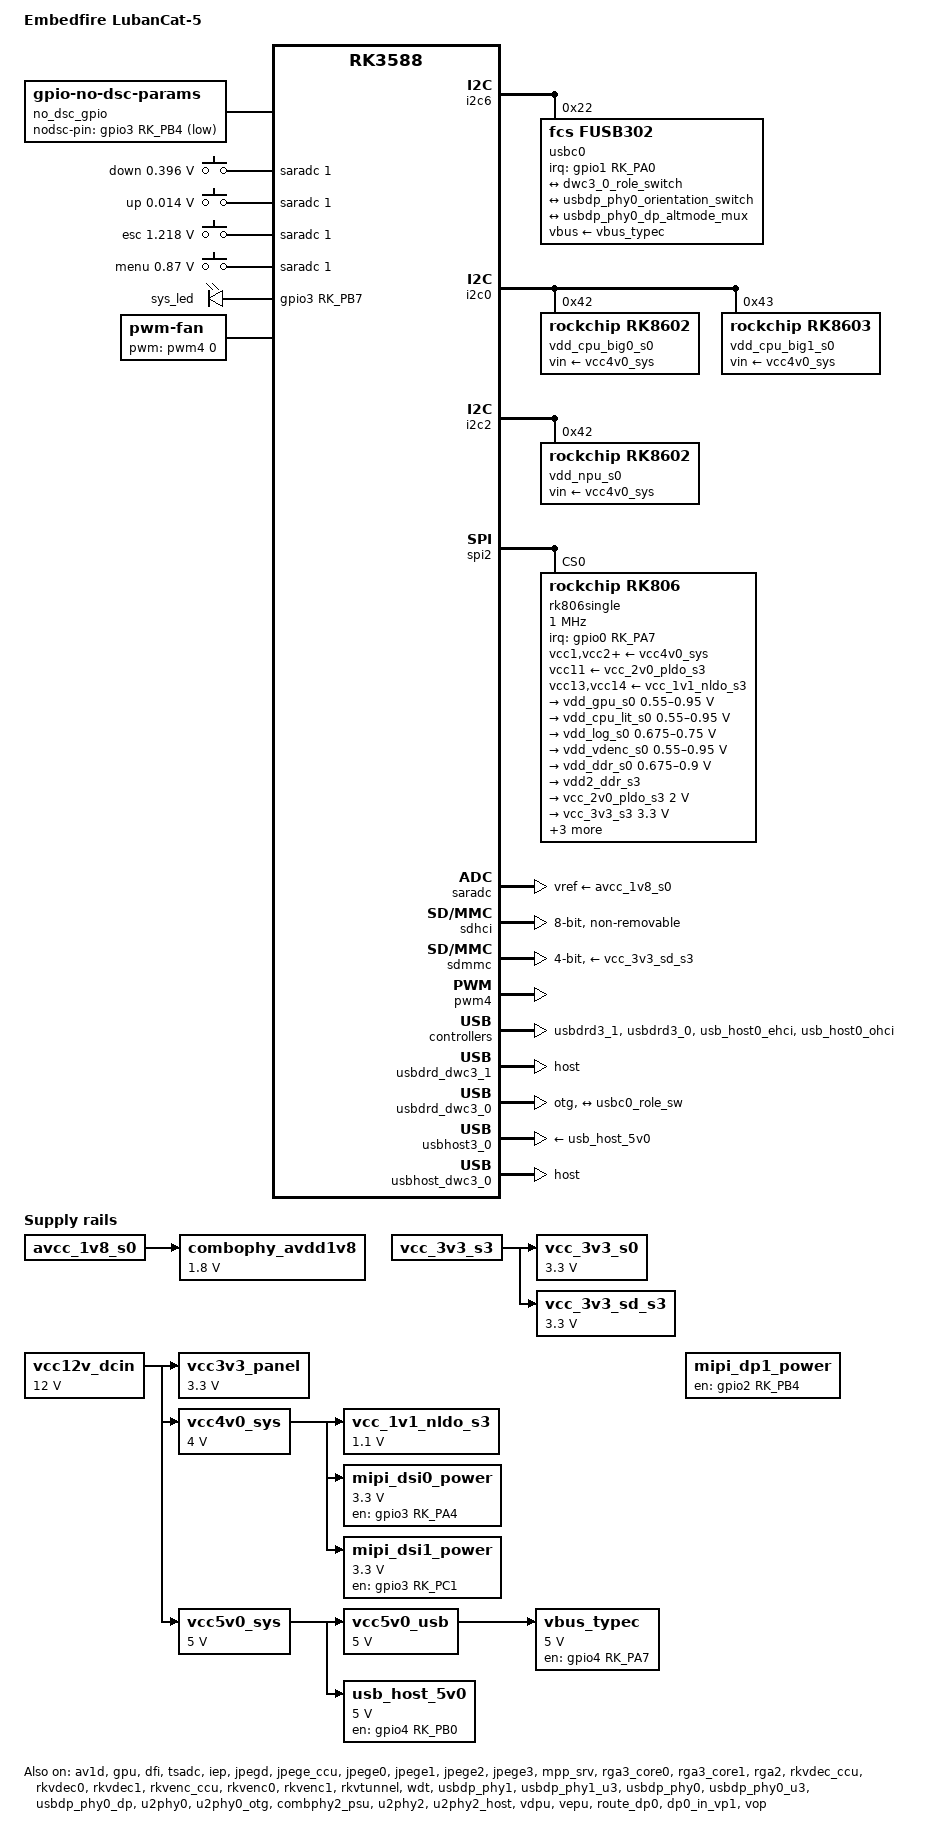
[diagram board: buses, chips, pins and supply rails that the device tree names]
// SPDX-License-Identifier: (GPL-2.0+ OR MIT)
/*
 * Copyright (c) 2021 Rockchip Electronics Co., Ltd.
 * Copyright (c) 2023 EmbedFire <embedfire@embedfire.com>
 */

/dts-v1/;

#include <dt-bindings/usb/pd.h>
#include <dt-bindings/gpio/gpio.h>
#include <dt-bindings/pwm/pwm.h>
#include <dt-bindings/pinctrl/rockchip.h>
//#include <dt-bindings/input/rk-input.h>
#include <dt-bindings/input/linux-event-codes.h>
#include <dt-bindings/display/drm_mipi_dsi.h>
#include <dt-bindings/display/rockchip_vop.h>
#include <dt-bindings/sensor-dev.h>
#include <dt-bindings/phy/jlsemi-dt-phy.h>
#include "rk3588.dtsi"
#include "rk3588-linux.dtsi"

//vp0
// #include "rk3588-lubancat-5-hdmi1-vp0.dtsi"
// #include "rk3588-lubancat-5-hdmi0.dtsi"

//vp2 二选一
// #include "rk3588-lubancat-5-dp1-edp_port.dtsi"
// #include "rk3588-lubancat-5-hdmi1.dtsi"
// #include "rk3588-lubancat-5-dsi0-ebf410125_1080p.dtsi"

//vp3
// #include "rk3588-lubancat-5-dsi1-ebf410125_1080p.dtsi"

/*
 * mipi_dcphy1 needs to be enabled
 * when dsi1 is enabled
 */
&dsi1 {
	pinctrl-names = "default";
	pinctrl-0 = <&mipi_te1>;
	status = "disabled";
};
&dsi0 {
	pinctrl-names = "default";
	pinctrl-0 = <&mipi_te0>;
	status = "disabled";
};

/ {
	model = "Embedfire LubanCat-5";
	compatible = "embedfire,rk3588-lubancat-5", "rockchip,rk3588";

	/* If hdmirx node is disabled, delete the reserved-memory node here. */
	reserved-memory {
		#address-cells = <2>;
		#size-cells = <2>;
		ranges;
		/* Reserve 256MB memory for hdmirx-controller@fdee0000 */
		/*
		cma {
			compatible = "shared-dma-pool";
			reusable;
			reg = <0x0 (256 * 0x100000) 0x0 (256 * 0x100000)>;
			linux,cma-default;
		};
		*/

		npu_reserved: npu@80000000 {
            reg = <0x0 0x80000000 0x0 0x08000000>;
            no-map;
        };
	};

	no_dsc_gpio: no-dsc-gpio {
        compatible = "gpio-no-dsc-params";
        nodsc-pin = <&gpio3 RK_PB4 GPIO_ACTIVE_LOW>;
    };

	adc_keys: adc-keys {
		status = "okay";
		compatible = "adc-keys";
		io-channels = <&saradc 1>;              // 使用 SARADC 通道 1
		io-channel-names = "buttons";
		keyup-threshold-microvolt = <1800000>;  // 按键释放的电压阈值（1.8V）
		poll-interval = <100>;                  // 轮询间隔（100ms）

		down {
		label = "down";
		linux,code = <KEY_DOWN>;
		press-threshold-microvolt = <395600>;
		};
		up {
		label = "up";
		linux,code = <KEY_UP>;             		// 按键对应的 Linux 键值
		press-threshold-microvolt = <13626>; 	// 按下触发的电压阈值
		};
		esc {
		label = "esc";
		linux,code = <KEY_ESC>;
		press-threshold-microvolt = <1217582>;
		};
		menu {
		label = "menu";
		linux,code = <KEY_MENU>;
		press-threshold-microvolt = <870329>;
		};
	};

	leds: leds {
		status = "okay";
		compatible = "gpio-leds";

		sys_led: sys-led {
			label = "sys_led";
			linux,default-trigger = "heartbeat";
			default-state = "on";
			gpios = <&gpio3 RK_PB7 GPIO_ACTIVE_HIGH>;
			pinctrl-names = "default";
			pinctrl-0 = <&sys_led_pin>;
		};
	};

	vcc12v_dcin: vcc12v-dcin {
		compatible = "regulator-fixed";
		regulator-always-on;
		regulator-boot-on;
		regulator-min-microvolt = <12000000>;
		regulator-max-microvolt = <12000000>;
		regulator-name = "vcc12v_dcin";
	};

	vcc3v3_panel: vcc3v3-panel{
		compatible = "regulator-fixed";
		regulator-name = "vcc3v3_panel";
		regulator-always-on;
		regulator-boot-on;
		regulator-min-microvolt = <3300000>;
		regulator-max-microvolt = <3300000>;
		vin-supply = <&vcc12v_dcin>;
	};

	vcc4v0_sys: vcc4v0-sys {
		compatible = "regulator-fixed";
		regulator-name = "vcc4v0_sys";
		regulator-always-on;
		regulator-boot-on;
		regulator-min-microvolt = <4000000>;
		regulator-max-microvolt = <4000000>;
		vin-supply = <&vcc12v_dcin>;
	};

	vcc5v0_sys: vcc5v0-sys {
		compatible = "regulator-fixed";
		regulator-name = "vcc5v0_sys";
		regulator-always-on;
		regulator-boot-on;
		regulator-min-microvolt = <5000000>;
		regulator-max-microvolt = <5000000>;
		vin-supply = <&vcc12v_dcin>;
	};

	vcc5v0_usb: vcc5v0-usb {
		compatible = "regulator-fixed";
		regulator-name = "vcc5v0_usb";
		regulator-always-on;
		regulator-boot-on;
		regulator-min-microvolt = <5000000>;
		regulator-max-microvolt = <5000000>;
		vin-supply = <&vcc5v0_sys>;
	};

	combophy_avdd1v8: combophy-avdd1v8 {
		compatible = "regulator-fixed";
		regulator-name = "combophy_avdd1v8";
		regulator-boot-on;
		regulator-min-microvolt = <1800000>;
		regulator-max-microvolt = <1800000>;
		vin-supply = <&avcc_1v8_s0>;
	};

	vcc_1v1_nldo_s3: vcc-1v1-nldo-s3 {
		compatible = "regulator-fixed";
		regulator-name = "vcc_1v1_nldo_s3";
		regulator-always-on;
		regulator-boot-on;
		regulator-min-microvolt = <1100000>;
		regulator-max-microvolt = <1100000>;
		vin-supply = <&vcc4v0_sys>;
	};

	vcc_3v3_s0: vcc-3v3-s0 {
		compatible = "regulator-fixed";
		regulator-name = "vcc_3v3_s0";
		regulator-always-on;
		regulator-boot-on;
		regulator-min-microvolt = <3300000>;
		regulator-max-microvolt = <3300000>;
		vin-supply = <&vcc_3v3_s3>;
	};

	vcc_3v3_sd_s3: vcc-3v3-sd-s3 {
		compatible = "regulator-fixed";
		regulator-name = "vcc_3v3_sd_s3";
		regulator-always-on;
		regulator-boot-on;
		regulator-min-microvolt = <3300000>;
		regulator-max-microvolt = <3300000>;
		vin-supply = <&vcc_3v3_s3>;
	};

	vbus_typec: vbus-typec {
		compatible = "regulator-fixed";
		regulator-name = "vbus_typec";
		regulator-min-microvolt = <5000000>;
		regulator-max-microvolt = <5000000>;
		enable-active-high;
		gpio = <&gpio4 RK_PA7 GPIO_ACTIVE_HIGH>;
		vin-supply = <&vcc5v0_usb>;
		pinctrl-names = "default";
		pinctrl-0 = <&typec_vbus_en>;
	};

	usb_host_5v0: usb-host-5v0 {
		compatible = "regulator-fixed";
		regulator-name = "usb_host_5v0";
		regulator-min-microvolt = <5000000>;
		regulator-max-microvolt = <5000000>;
		enable-active-high;
		regulator-boot-on;
		regulator-always-on;//不加这一句就会被关闭
		//驱动通过gpiod_get()获取GPIO后，可动态控制电平，定义GPIO的​​软件逻辑属性​​（如方向、初始电平），供驱动代码调用。
		//驱动必须通过usb_host_pwr_en获取GPIO描述符（struct gpio_desc），才能调用GPIO控制API。
		gpio = <&gpio4 RK_PB0 GPIO_ACTIVE_HIGH>; // GPIO编号136
		vin-supply = <&vcc5v0_sys>;
		pinctrl-names = "default";
		pinctrl-0 = <&usb_host_pwr_en>;
	};

	mipi_dsi0_power: mipi-dsi0-power-regulator {
		compatible = "regulator-fixed";
		regulator-name = "mipi_dsi0_power";
		regulator-min-microvolt = <3300000>;
		regulator-max-microvolt = <3300000>;
		enable-gpios = <&gpio3 RK_PA4 GPIO_ACTIVE_HIGH>;
		enable-active-high;
		regulator-boot-on;		// 开机默认开启
		regulator-always-on;	// 移除 regulator-always-on 以允许手动控制
		vin-supply = <&vcc4v0_sys>;
		pinctrl-names = "default";
		pinctrl-0 = <&mipi_dsi0_power_en>;
	};

	mipi_dsi1_power: mipi-dsi1-power-regulator {
		compatible = "regulator-fixed";
		regulator-name = "mipi_dsi1_power";
		regulator-min-microvolt = <3300000>;
		regulator-max-microvolt = <3300000>;
		enable-gpios = <&gpio3 RK_PC1 GPIO_ACTIVE_HIGH>;
		enable-active-high;
		regulator-boot-on;
		//regulator-always-on;	// 移除 regulator-always-on 以允许手动控制
		vin-supply = <&vcc4v0_sys>;
	};

	mipi_dp1_power: mipi-edp-power-regulator {
		compatible = "regulator-fixed";
		regulator-name = "mipi_dp1_power";
		gpio = <&gpio2 RK_PB4 GPIO_ACTIVE_HIGH>;
		enable-active-high;
		regulator-boot-on;
		regulator-always-on;
	};

	fan: pwm-fan {
		compatible = "pwm-fan";
		#cooling-cells = <2>;
		pwms = <&pwm4 0 5000 0>;
		cooling-levels = <0 100 150 200 255>;
		rockchip,temp-trips = <
			35000	1
			40000	2
			45000	3
			50000	4
		>;
	};

	test-power {
		status = "okay";
	};
};

// &pwm11 {
// 	pinctrl-0 = <&pwm11m1_pins>;
// 	status = "okay";
// };

&av1d {
	status = "okay";
};

&av1d_mmu {
	status = "okay";
};

&spdif_tx2 {
	status = "disabled";
};

&i2s5_8ch {
	status = "disabled";
};

&i2s6_8ch {
	status = "disabled";
};

&cpu_l0 {
	cpu-supply = <&vdd_cpu_lit_s0>;
	mem-supply = <&vdd_cpu_lit_mem_s0>;
};

&cpu_b0 {
	cpu-supply = <&vdd_cpu_big0_s0>;
	mem-supply = <&vdd_cpu_big0_mem_s0>;
};

&cpu_b2 {
	cpu-supply = <&vdd_cpu_big1_s0>;
	mem-supply = <&vdd_cpu_big1_mem_s0>;
};

&gpu {
	mali-supply = <&vdd_gpu_s0>;
	mem-supply = <&vdd_gpu_mem_s0>;
	upthreshold = <60>;
	downdifferential = <30>;
	power-off-delay-ms = <200>;
	status = "okay";
};

&dfi {
	status = "okay";
};

&dmc {
	status = "disabled";
	center-supply = <&vdd_ddr_s0>;
	mem-supply = <&vdd_log_s0>;
};

&rockchip_suspend {
	status = "okay";
	rockchip,sleep-debug-en = <1>;
	rockchip,sleep-mode-config = <
		(0
		| RKPM_SLP_ARMOFF_DDRPD
		| RKPM_SLP_PMU_PMUALIVE_32K
		| RKPM_SLP_PMU_DIS_OSC
		| RKPM_SLP_32K_EXT
		)
	>;
	rockchip,wakeup-config = <
		(0
		| RKPM_GPIO_WKUP_EN
		| RKPM_CPU0_WKUP_EN
		)
	>;
};

&i2c6 {
	status = "okay";
	pinctrl-names = "default";
	pinctrl-0 = <&i2c6m0_xfer>;

	/* Typec Controller Fusb302 */
	usbc0: fusb302@22 {
		compatible = "fcs,fusb302";
		reg = <0x22>;
		interrupt-parent = <&gpio1>;
		interrupts = <RK_PA0 IRQ_TYPE_LEVEL_LOW>;
		pinctrl-names = "default";
		pinctrl-0 = <&fusb302_int>;
		vbus-supply = <&vbus_typec>;
		status = "okay";

		ports {
			#address-cells = <1>;
			#size-cells = <0>;

			port@0 {
				reg = <0>;
				usbc0_role_sw: endpoint@0 {
					remote-endpoint = <&dwc3_0_role_switch>;
				};
			};
		};

		usb_con: connector {
			compatible = "usb-c-connector";
			label = "USB-C";
			data-role = "dual";
			power-role = "dual";
			try-power-role = "sink";
			op-sink-microwatt = <1000000>;
			sink-pdos =
				<PDO_FIXED(5000, 1000, PDO_FIXED_USB_COMM)>;
			source-pdos =
				<PDO_FIXED(5000, 3000, PDO_FIXED_USB_COMM)>;

			altmodes {
				#address-cells = <1>;
				#size-cells = <0>;

				altmode@0 {
					reg = <0>;
					svid = <0xff01>;
					vdo = <0xffffffff>;
				};
			};

			ports {
				#address-cells = <1>;
				#size-cells = <0>;

				port@0 {
					reg = <0>;
					usbc0_orien_sw: endpoint {
						remote-endpoint = <&usbdp_phy0_orientation_switch>;
					};
				};

				port@1 {
					reg = <1>;
					dp_altmode_mux: endpoint {
						remote-endpoint = <&usbdp_phy0_dp_altmode_mux>;
					};
				};
			};
		};
	};
};

&i2c0 {
	pinctrl-names = "default";
	pinctrl-0 = <&i2c0m2_xfer>;
	status = "okay";

	vdd_cpu_big0_s0: vdd_cpu_big0_mem_s0: rk8602@42 {
		compatible = "rockchip,rk8602";
		reg = <0x42>;
		vin-supply = <&vcc4v0_sys>;
		regulator-compatible = "rk860x-reg";
		regulator-name = "vdd_cpu_big0_s0";
		regulator-min-microvolt = <550000>;
		regulator-max-microvolt = <1050000>;
		regulator-ramp-delay = <2300>;
		rockchip,suspend-voltage-selector = <1>;
		regulator-boot-on;
		regulator-always-on;
		regulator-state-mem {
			regulator-off-in-suspend;
		};
	};

	vdd_cpu_big1_s0: vdd_cpu_big1_mem_s0: rk8603@43 {
		compatible = "rockchip,rk8603";
		reg = <0x43>;
		vin-supply = <&vcc4v0_sys>;
		regulator-compatible = "rk860x-reg";
		regulator-name = "vdd_cpu_big1_s0";
		regulator-min-microvolt = <550000>;
		regulator-max-microvolt = <1050000>;
		regulator-ramp-delay = <2300>;
		rockchip,suspend-voltage-selector = <1>;
		regulator-boot-on;
		regulator-always-on;
		regulator-state-mem {
			regulator-off-in-suspend;
		};
	};
};

&i2c2 {
	pinctrl-names = "default";
	pinctrl-0 = <&i2c2m0_xfer>;
	status = "okay";

	vdd_npu_s0: vdd_npu_mem_s0: rk8602@42 {
		compatible = "rockchip,rk8602";
		reg = <0x42>;
		vin-supply = <&vcc4v0_sys>;
		regulator-compatible = "rk860x-reg";
		regulator-name = "vdd_npu_s0";
		regulator-min-microvolt = <550000>;
		regulator-max-microvolt = <950000>;
		regulator-ramp-delay = <2300>;
		rockchip,suspend-voltage-selector = <1>;
		regulator-boot-on;
		regulator-always-on;
		regulator-state-mem {
			regulator-off-in-suspend;
		};
	};
	
};

&spi2 {
	status = "okay";
	assigned-clocks = <&cru CLK_SPI2>;
	assigned-clock-rates = <200000000>;
	pinctrl-names = "default";
	pinctrl-0 = <&spi2m2_cs0 &spi2m2_pins>;
	num-cs = <1>;

	rk806single@0 {
		compatible = "rockchip,rk806";
		spi-max-frequency = <1000000>;
		reg = <0x0>;

		interrupt-parent = <&gpio0>;
		interrupts = <RK_PA7 IRQ_TYPE_LEVEL_LOW>;

		pinctrl-names = "default", "pmic-power-off";
		pinctrl-0 = <&pmic_pins>, <&rk806_dvs1_null>, <&rk806_dvs2_null>, <&rk806_dvs3_null>;
		pinctrl-1 = <&rk806_dvs1_pwrdn>;

		/* 2800mv-3500mv */
		low_voltage_threshold = <3000>;
		/* 2700mv-3400mv */
		shutdown_voltage_threshold = <2700>;
		/* 140 160 */
		shutdown_temperture_threshold = <160>;
		hotdie_temperture_threshold = <115>;

		/* 0: restart PMU;
		 * 1: reset all the power off reset registers,
		 *	forcing the state to switch to ACTIVE mode;
		 * 2: Reset all the power off reset registers,
		 *	forcing the state to switch to ACTIVE mode,
		 *	and simultaneously pull down the RESETB PIN for 5mS before releasing
		 */
		pmic-reset-func = <1>;

		vcc1-supply = <&vcc4v0_sys>;
		vcc2-supply = <&vcc4v0_sys>;
		vcc3-supply = <&vcc4v0_sys>;
		vcc4-supply = <&vcc4v0_sys>;
		vcc5-supply = <&vcc4v0_sys>;
		vcc6-supply = <&vcc4v0_sys>;
		vcc7-supply = <&vcc4v0_sys>;
		vcc8-supply = <&vcc4v0_sys>;
		vcc9-supply = <&vcc4v0_sys>;
		vcc10-supply = <&vcc4v0_sys>;
		vcc11-supply = <&vcc_2v0_pldo_s3>;
		vcc12-supply = <&vcc4v0_sys>;
		vcc13-supply = <&vcc_1v1_nldo_s3>;
		vcc14-supply = <&vcc_1v1_nldo_s3>;
		//vcca-supply = <&vcc4v0_sys>;

		pwrkey {
			status = "okay";
		};

		pinctrl_rk806: pinctrl_rk806 {
			gpio-controller;
			#gpio-cells = <2>;

			rk806_dvs1_null: rk806_dvs1_null {
				pins = "gpio_pwrctrl2";
				function = "pin_fun0";
			};

			rk806_dvs1_slp: rk806_dvs1_slp {
				pins = "gpio_pwrctrl1";
				function = "pin_fun1";
			};

			rk806_dvs1_pwrdn: rk806_dvs1_pwrdn {
				pins = "gpio_pwrctrl1";
				function = "pin_fun2";
			};

			rk806_dvs1_rst: rk806_dvs1_rst {
				pins = "gpio_pwrctrl1";
				function = "pin_fun3";
			};

			rk806_dvs2_null: rk806_dvs2_null {
				pins = "gpio_pwrctrl2";
				function = "pin_fun0";
			};

			rk806_dvs2_slp: rk806_dvs2_slp {
				pins = "gpio_pwrctrl2";
				function = "pin_fun1";
			};

			rk806_dvs2_pwrdn: rk806_dvs2_pwrdn {
				pins = "gpio_pwrctrl2";
				function = "pin_fun2";
			};

			rk806_dvs2_rst: rk806_dvs2_rst {
				pins = "gpio_pwrctrl2";
				function = "pin_fun3";
			};

			rk806_dvs2_dvs: rk806_dvs2_dvs {
				pins = "gpio_pwrctrl2";
				function = "pin_fun4";
			};

			rk806_dvs2_gpio: rk806_dvs2_gpio {
				pins = "gpio_pwrctrl2";
				function = "pin_fun5";
			};

			rk806_dvs3_null: rk806_dvs3_null {
				pins = "gpio_pwrctrl3";
				function = "pin_fun0";
			};

			rk806_dvs3_slp: rk806_dvs3_slp {
				pins = "gpio_pwrctrl3";
				function = "pin_fun1";
			};

			rk806_dvs3_pwrdn: rk806_dvs3_pwrdn {
				pins = "gpio_pwrctrl3";
				function = "pin_fun2";
			};

			rk806_dvs3_rst: rk806_dvs3_rst {
				pins = "gpio_pwrctrl3";
				function = "pin_fun3";
			};

			rk806_dvs3_dvs: rk806_dvs3_dvs {
				pins = "gpio_pwrctrl3";
				function = "pin_fun4";
			};

			rk806_dvs3_gpio: rk806_dvs3_gpio {
				pins = "gpio_pwrctrl3";
				function = "pin_fun5";
			};
		};

		regulators {
			vdd_gpu_s0: vdd_gpu_mem_s0: DCDC_REG1 {
				regulator-boot-on;
				regulator-min-microvolt = <550000>;
				regulator-max-microvolt = <950000>;
				regulator-ramp-delay = <12500>;
				regulator-name = "vdd_gpu_s0";
				regulator-enable-ramp-delay = <400>;
				regulator-state-mem {
					regulator-off-in-suspend;
				};
			};

			vdd_cpu_lit_s0: vdd_cpu_lit_mem_s0: DCDC_REG2 {
				regulator-always-on;
				regulator-boot-on;
				regulator-min-microvolt = <550000>;
				regulator-max-microvolt = <950000>;
				regulator-ramp-delay = <12500>;
				regulator-name = "vdd_cpu_lit_s0";
				regulator-state-mem {
					regulator-off-in-suspend;
				};
			};

			vdd_log_s0: DCDC_REG3 {
				regulator-always-on;
				regulator-boot-on;
				regulator-min-microvolt = <675000>;
				regulator-max-microvolt = <750000>;
				regulator-ramp-delay = <12500>;
				regulator-name = "vdd_log_s0";
				regulator-state-mem {
					regulator-on-in-suspend;
					regulator-suspend-microvolt = <750000>;
				};
			};

			vdd_vdenc_s0: vdd_vdenc_mem_s0: DCDC_REG4 {
				regulator-always-on;
				regulator-boot-on;
				regulator-min-microvolt = <550000>;
				regulator-max-microvolt = <950000>;
				regulator-init-microvolt = <750000>;
				regulator-ramp-delay = <12500>;
				regulator-name = "vdd_vdenc_s0";
				regulator-state-mem {
					regulator-off-in-suspend;
				};
			};

			vdd_ddr_s0: DCDC_REG5 {
				regulator-always-on;
				regulator-boot-on;
				regulator-min-microvolt = <675000>;
				regulator-max-microvolt = <900000>;
				regulator-ramp-delay = <12500>;
				regulator-name = "vdd_ddr_s0";
				regulator-state-mem {
					regulator-off-in-suspend;
					regulator-suspend-microvolt = <850000>;
				};
			};

			vdd2_ddr_s3: DCDC_REG6 {
				regulator-always-on;
				regulator-boot-on;
				regulator-name = "vdd2_ddr_s3";
				regulator-state-mem {
					regulator-on-in-suspend;
				};
			};

			vcc_2v0_pldo_s3: DCDC_REG7 {
				regulator-always-on;
				regulator-boot-on;
				regulator-min-microvolt = <2000000>;
				regulator-max-microvolt = <2000000>;
				regulator-name = "vdd_2v0_pldo_s3";
				regulator-state-mem {
					regulator-on-in-suspend;
					regulator-suspend-microvolt = <2000000>;
				};
			};

			vcc_3v3_s3: DCDC_REG8 {
				regulator-always-on;
				regulator-boot-on;
				regulator-min-microvolt = <3300000>;
				regulator-max-microvolt = <3300000>;
				regulator-name = "vcc_3v3_s3";
				regulator-state-mem {
					regulator-on-in-suspend;
					regulator-suspend-microvolt = <3300000>;
				};
			};

			vddq_ddr_s0: DCDC_REG9 {
				regulator-always-on;
				regulator-boot-on;
				regulator-name = "vddq_ddr_s0";
				regulator-state-mem {
					regulator-off-in-suspend;
				};
			};

			vcc_1v8_s3: DCDC_REG10 {
				regulator-always-on;
				regulator-boot-on;
				regulator-min-microvolt = <1800000>;
				regulator-max-microvolt = <1800000>;
				regulator-name = "vcc_1v8_s3";
				regulator-state-mem {
					regulator-on-in-suspend;
					regulator-suspend-microvolt = <1800000>;
				};
			};

			avcc_1v8_s0: PLDO_REG1 {
				regulator-always-on;
				regulator-boot-on;
				regulator-min-microvolt = <1800000>;
				regulator-max-microvolt = <1800000>;
				regulator-name = "avcc_1v8_s0";
				regulator-state-mem {
					regulator-on-in-suspend;
					regulator-suspend-microvolt = <1800000>;
				};
			};

			vcc_1v8_s0: PLDO_REG2 {
				regulator-always-on;
				regulator-boot-on;
				regulator-min-microvolt = <1800000>;
				regulator-max-microvolt = <1800000>;
				regulator-name = "vcc_1v8_s0";
				regulator-state-mem {
					regulator-off-in-suspend;
				};
			};

			avdd_1v2_s0: PLDO_REG3 {
				regulator-always-on;
				regulator-boot-on;
				regulator-min-microvolt = <1200000>;
				regulator-max-microvolt = <1200000>;
				regulator-name = "avdd_1v2_s0";
				regulator-state-mem {
					regulator-off-in-suspend;
				};
			};

			avcc_3v3_s0: PLDO_REG4 {//没有使用
				regulator-always-on;
				regulator-boot-on;
				regulator-min-microvolt = <3300000>;
				regulator-max-microvolt = <3300000>;
				regulator-name = "avcc_3v3_s0";
				regulator-state-mem {
					regulator-off-in-suspend;
				};
			};

			vccio_sd_s0: PLDO_REG5 {//没有使用，硬件上没连接到RK3588 VCCIO2 Domain
				regulator-always-on;
				regulator-boot-on;
				regulator-min-microvolt = <1800000>;
				regulator-max-microvolt = <3300000>;
				regulator-name = "vccio_sd_s0";
				regulator-state-mem {
					regulator-off-in-suspend;
				};
			};

			pldo6_s3: PLDO_REG6 {
				regulator-always-on;
				regulator-boot-on;
				regulator-min-microvolt = <1800000>;
				regulator-max-microvolt = <1800000>;
				regulator-name = "pldo6_s3";
				regulator-state-mem {
					regulator-on-in-suspend;
					regulator-suspend-microvolt = <1800000>;
				};
			};

			vdd_0v75_s3: NLDO_REG1 {
				regulator-always-on;
				regulator-boot-on;
				regulator-min-microvolt = <750000>;
				regulator-max-microvolt = <750000>;
				regulator-name = "vdd_0v75_s3";
				regulator-state-mem {
					regulator-on-in-suspend;
					regulator-suspend-microvolt = <750000>;
				};
			};

			avdd_ddr_pll_s0: NLDO_REG2 {
				regulator-always-on;
				regulator-boot-on;
				regulator-min-microvolt = <850000>;
				regulator-max-microvolt = <850000>;
				regulator-name = "avdd_ddr_pll_s0";
				regulator-state-mem {
					regulator-off-in-suspend;
					regulator-suspend-microvolt = <850000>;
				};
			};

			avdd_0v75_s0: NLDO_REG3 {
				regulator-always-on;
				regulator-boot-on;
				regulator-min-microvolt = <837500>;
				regulator-max-microvolt = <837500>;
				regulator-name = "avdd_0v75_s0";
				regulator-state-mem {
					regulator-off-in-suspend;
				};
			};

			avdd_0v85_s0: NLDO_REG4 {
				regulator-always-on;
				regulator-boot-on;
				regulator-min-microvolt = <850000>;
				regulator-max-microvolt = <850000>;
				regulator-name = "avdd_0v85_s0";
				regulator-state-mem {
					regulator-off-in-suspend;
				};
			};

			vdd_0v75_s0: NLDO_REG5 {
				regulator-always-on;
				regulator-boot-on;
				regulator-min-microvolt = <750000>;
				regulator-max-microvolt = <750000>;
				regulator-name = "vdd_0v75_s0";
				regulator-state-mem {
					regulator-off-in-suspend;
				};
			};
		};
	};
};

&saradc {
	status = "okay";
	vref-supply = <&avcc_1v8_s0>;
};

&tsadc {
	status = "okay";
};

&sdhci {//用于​​eMMC芯片​​
	bus-width = <8>;
	no-sdio;
	no-sd;
	non-removable;
	max-frequency = <200000000>;
	mmc-hs400-1_8v;
	mmc-hs400-enhanced-strobe;
	full-pwr-cycle-in-suspend;
	status = "okay";
};

&sdmmc {//TF卡
	status = "okay";
	no-sdio;
	no-mmc;
	bus-width = <4>;
	cap-mmc-highspeed;
	cap-sd-highspeed;
	disable-wp;
	sd-uhs-sdr104;
	no-1-8-v;
	vmmc-supply = <&vcc_3v3_sd_s3>;
	vqmmc-supply = <&vcc_3v3_sd_s3>;
	// 禁用动态电源控制
	keep-power-in-suspend;
	full-pwr-cycle-in-suspend;
};

&mipi1_csi2_hw {
	status = "disabled";
};

&iep {
	status = "okay";
};

&iep_mmu {
	status = "okay";
};

&jpegd {
	status = "okay";
};

&jpegd_mmu {
	status = "okay";
};

&jpege_ccu {
	status = "okay";
};

&jpege0 {
	status = "okay";
};

&jpege0_mmu {
	status = "okay";
};

&jpege1 {
	status = "okay";
};

&jpege1_mmu {
	status = "okay";
};

&jpege2 {
	status = "okay";
};

&jpege2_mmu {
	status = "okay";
};

&jpege3 {
	status = "okay";
};

&jpege3_mmu {
	status = "okay";
};

&mpp_srv {
	status = "okay";
};

&pwm4 {
	pinctrl-0 = <&pwm4m0_pins>;
	status = "okay";
};

&pwm3 {
	compatible = "rockchip,remotectl-pwm";
	pinctrl-names = "default";
	pinctrl-0 = <&pwm3m1_pins>;
	remote_pwm_id = <3>;
	handle_cpu_id = <1>;
	remote_support_psci = <0>;
	status = "disabled";

	ir_key_lubancat{
	rockchip,usercode = <0xff00>;
	rockchip,key_table =
		<0xba   KEY_POWER>,   //电源按键
		<0xb8   KEY_MENU>,     //菜单按键
		<0xbc   KEY_BACK>,      //返回按键
		<0xbb   KEY_HOME>,      //home键按键
		<0xea   KEY_PLAY>,      //播放按键
		<0xbf   KEY_VOLUMEUP>,  //音量加按键
		<0xe6   KEY_VOLUMEDOWN>,   //音量键按键
		<0xf6   KEY_FASTFORWARD>,  //快进按键
		<0xf8   KEY_FASTREVERSE>,  //快退按键
		<0xf2   KEY_BACKSPACE>,    //BaskSpace按键
		<0xf3   KEY_1>,            //按键1
		<0xe7   KEY_2>,
		<0xa1   KEY_3>,
		<0xf7   KEY_4>,
		<0xe3   KEY_5>,
		<0xa5   KEY_6>,
		<0xbd   KEY_7>,
		<0xad   KEY_8>,
		<0xb5   KEY_9>,
		<0xe9   KEY_0>;            //按键0
	};
};

&rga3_core0 {
	status = "okay";
};

&rga3_0_mmu {
	status = "okay";
};

&rga3_core1 {
	status = "okay";
};

&rga3_1_mmu {
	status = "okay";
};

&rga2 {
	status = "okay";
};

&rknpu {
	rknpu-supply = <&vdd_npu_s0>;
	mem-supply = <&vdd_npu_mem_s0>;
	memory-region = <&npu_reserved>;
	status = "disabled";
};

&rknpu_mmu {
	status = "okay";
};

&rkvdec_ccu {
	status = "okay";
};

&rkvdec0 {
	status = "okay";
};

&rkvdec0_mmu {
	status = "okay";
};

&rkvdec1 {
	status = "okay";
};

&rkvdec1_mmu {
	status = "okay";
};

&rkvenc_ccu {
	status = "okay";
};

&rkvenc0 {
	status = "okay";
};

&rkvenc0_mmu {
	status = "okay";
};

&rkvenc1 {
	status = "okay";
};

&rkvenc1_mmu {
	status = "okay";
};

&rkvtunnel {
	status = "okay";
};

/* this is a watchdog */
&wdt {
	status = "okay";
};

/* USB3.1/DP Combo PHY1 */
&usbdp_phy1 {
	status = "okay";
};

&usbdp_phy1_u3 {
	status = "okay";
};

&usbdrd3_1 {
	status = "okay";
};

&usbdrd_dwc3_1 {
	status = "okay";
	dr_mode = "host";
};

/* USB3.1/DP Combo PHY0 */
&usbdp_phy0 {
	orientation-switch;
	svid = <0xff01>;
	sbu1-dc-gpios = <&gpio0 RK_PC6 GPIO_ACTIVE_HIGH>;
	sbu2-dc-gpios = <&gpio0 RK_PD3 GPIO_ACTIVE_HIGH>;
	status = "okay";

	port {
		#address-cells = <1>;
		#size-cells = <0>;
		usbdp_phy0_orientation_switch: endpoint@0 {
			reg = <0>;
			remote-endpoint = <&usbc0_orien_sw>;
		};

		usbdp_phy0_dp_altmode_mux: endpoint@1 {
			reg = <1>;
			remote-endpoint = <&dp_altmode_mux>;
		};
	};
};

&usbdp_phy0_u3 {
	status = "okay";
};

&usbdp_phy0_dp {
	status = "okay";
};

/* USB3.1 OTG0 Controller  */
&usbdrd3_0 {// type-c
	status = "okay";
};

&usbdrd_dwc3_0 {
	dr_mode = "otg";
	usb-role-switch;

	status = "okay";
	port {
		#address-cells = <1>;
		#size-cells = <0>;
		dwc3_0_role_switch: endpoint@0 {
			reg = <0>;
			remote-endpoint = <&usbc0_role_sw>;
		};
	};
};

/* USB2.0 PHY0 */
&u2phy0 {
	status = "okay";
};

&u2phy0_otg {
	rockchip,typec-vbus-det;
	rockchip,phy-delay = <200>; 
	status = "okay";
};

&u2phy1 {//typec-1
	status = "disabled";
};

&u2phy1_otg {
	status = "disabled";
};

/* USB30_HOST2/SATA30_HOST2/PCIe20x1_1 Combo PHY */
&combphy2_psu {
	status = "okay";
};

/* USB3.1 HOST2 Controller  */
&usbhost3_0 {
	vbus-supply = <&usb_host_5v0>;
	status = "okay";
};

&usbhost_dwc3_0 {
	dr_mode = "host";
	status = "okay";
};

/* USB2.0 HOST0 PHY2 */
&u2phy2 {
	status = "okay";
};

&u2phy2_host {
	phy-supply = <&vcc5v0_usb>;
	status = "okay";
};

/* USB2.0 HOST0 Controller */
&usb_host0_ehci {
	status = "okay";
};

&usb_host0_ohci {
	status = "okay";
};

/* USB2.0 HOST1 PHY3 */
&u2phy3 {
	status = "disabled";
};

&u2phy3_host {
	phy-supply = <&vcc5v0_usb>;
	status = "disabled";
};

/* USB2.0 HOST1 Controller */
&usb_host1_ehci {
	status = "disabled";
};

&usb_host1_ohci {
	status = "disabled";
};

&vdpu {
	status = "okay";
};

&vdpu_mmu {
	status = "okay";
};

&vepu {
	status = "okay";
};

/* dp0 display */
&dp0 {
	status = "disabled";
};

&route_dp0 {
	status = "okay";
	connect = <&vp1_out_dp0>;
};

&dp0_in_vp0 {
	status = "disabled";
};

&dp0_in_vp1 {
	status = "okay";
};

&dp0_in_vp2 {
	status = "disabled";
};

&vop {
	status = "okay";
	// disable-win-move;
};

&vop_mmu {
	status = "okay";
};

&hdmirx_ctrler {
	status = "disabled";
};

&i2s7_8ch{
	status = "disabled";
};

/* vp0 & vp1 splice for 8K output */
&vp0 {
	rockchip,plane-mask = <(1 << ROCKCHIP_VOP2_CLUSTER0 | 1 << ROCKCHIP_VOP2_ESMART0)>;
	rockchip,primary-plane = <ROCKCHIP_VOP2_ESMART0>;
	// cursor-win-id = <ROCKCHIP_VOP2_CLUSTER0>;
};

&vp1 {
	rockchip,plane-mask = <(1 << ROCKCHIP_VOP2_CLUSTER1 | 1 << ROCKCHIP_VOP2_ESMART1)>;
	rockchip,primary-plane = <ROCKCHIP_VOP2_ESMART1>;
	cursor-win-id = <ROCKCHIP_VOP2_CLUSTER1>;
};

&vp2 {
	rockchip,plane-mask = <(1 << ROCKCHIP_VOP2_CLUSTER2 | 1 << ROCKCHIP_VOP2_ESMART2)>;
	rockchip,primary-plane = <ROCKCHIP_VOP2_ESMART2>;
	cursor-win-id = <ROCKCHIP_VOP2_CLUSTER2>;
};

&vp3 {
	rockchip,plane-mask = <(1 << ROCKCHIP_VOP2_CLUSTER3 | 1 << ROCKCHIP_VOP2_ESMART3)>;
	rockchip,primary-plane = <ROCKCHIP_VOP2_ESMART3>;
	cursor-win-id = <ROCKCHIP_VOP2_CLUSTER3>;
};

&display_subsystem {
	clocks = <&hdptxphy_hdmi_clk0>, <&hdptxphy_hdmi_clk1>;
	clock-names = "hdmi0_phy_pll", "hdmi1_phy_pll";
};

&hdptxphy_hdmi_clk0 {
	status = "disabled";
};

&hdptxphy_hdmi_clk1 {
	status = "disabled";
};
&hdmi0 {
	status = "disabled";
};

&hdmi0_in_vp0 {
	status = "disabled";
};
&pinctrl {//在驱动probe()阶段，由pinctrl子系统自动应用，配置GPIO的​​硬件电气特性​​
	//如果省略pinctrl配置，GPIO可能处于默认状态（如高阻态），导致信号不稳定。
	usb-typec {
		fusb302_int: fusb302-int {
			rockchip,pins = <1 RK_PA0 RK_FUNC_GPIO &pcfg_pull_up>;
		};

		typec_vbus_en: typec-vbus-en {
			rockchip,pins = <4 RK_PA7 RK_FUNC_GPIO &pcfg_pull_none>;
		};
	};

	usb-host {
		usb_host_pwr_en: usb-host-pwr-en {
			rockchip,pins = <4 RK_PB0 RK_FUNC_GPIO &pcfg_pull_up>;
		};
	};

	leds {
		sys_led_pin: sys-led-pin {
			rockchip,pins = <3 RK_PB7 RK_FUNC_GPIO &pcfg_pull_none>;
		};
	};

	mipi_dsi0_power {
		mipi_dsi0_power_en:mipi-dsi0-powers{
			rockchip,pins = <3 RK_PA4 RK_FUNC_GPIO &pcfg_pull_up>;
		};
	};

	/*
	pmic {//rk860 电源控制管脚，已经被硬编码，但驱动框架会报：“vsel-gpios- not found!  en-gpios- not found!“无视即可
		vsel2_gpio: vsel2-gpio {//CPU BIG0
			//rockchip,pins =	<0 RK_PA3 RK_FUNC_GPIO &pcfg_pull_down>;
		};
		vsel6_gpio: vsel6-gpio {//CPU BIG1
			//rockchip,pins =	<0 RK_PD6 RK_FUNC_GPIO &pcfg_pull_down>;
		};
		vsel3_gpio: vsel3-gpio {//NPU
			//rockchip,pins =	<0 RK_PC1 RK_FUNC_GPIO &pcfg_pull_down>;
		};
	};
	*/
};
